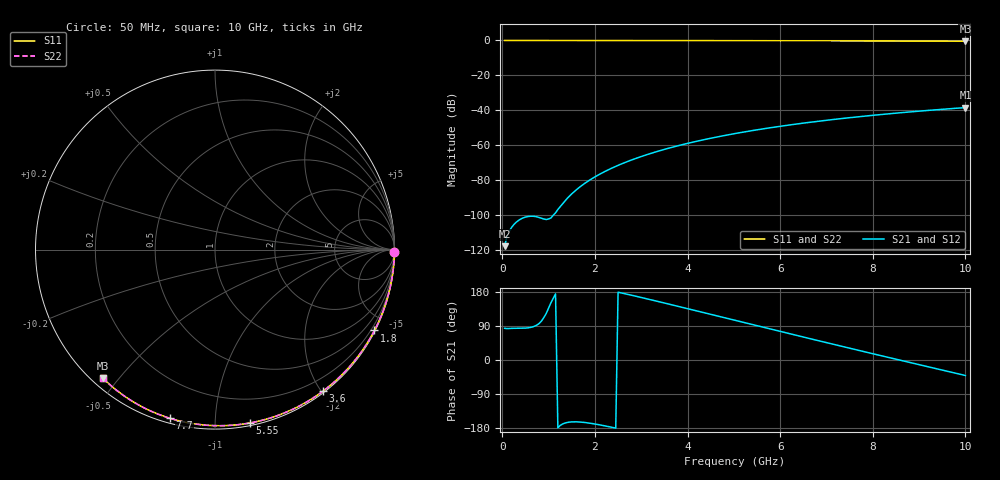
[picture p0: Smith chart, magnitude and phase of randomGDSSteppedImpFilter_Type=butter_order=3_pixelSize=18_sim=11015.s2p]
! freq	dB(S11)	phase(S11)	dB(S12)	phase(S12)
!  dB(S21)	phase(S21)	dB(S22)	phase(S22)
!S-par simulation data
#  GHz  S  DB  R 50
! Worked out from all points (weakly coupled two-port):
!   200 points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, 50 MHz to 10 GHz, reference 50 ohm
!   highest |S21| = -38.42 dB at 10 GHz (marker M1); lowest = -117.7 dB at 50 MHz (marker M2)
!   lowest |S11| = -0.4 dB at 10 GHz (marker M3), VSWR 39.17, Z = 1.54 - j22.7 ohm
!   |S11| at or under -10 dB: nowhere
!   |S22| runs from -0.4 to 0.0 dB; largest |S21 - S12| = 0
!   S11 on the Smith chart (normalised r, x): 50 MHz: open; 1.8 GHz: 0.04, -4.18; 3.6 GHz: 0.02, -2.02; 5.55 GHz: 0.02, -1.22; 7.7 GHz: 0.02, -0.77; 10 GHz: 0.03, -0.45
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0.05  -0.00 -0.8  -117.72 83.7  -117.72 83.7  -0.00 -0.8
0.9  -0.02 -13.6  -102.20 112.6  -102.20 112.6  -0.02 -13.6
1.75  -0.03 -26.2  -82.35 -164.5  -82.35 -164.5  -0.03 -26.2
1.8  -0.03 -26.9  -81.42 -165.2  -81.42 -165.2  -0.03 -26.9
1.85  -0.04 -27.6  -80.53 -166.0  -80.53 -166.0  -0.04 -27.6
1.9  -0.04 -28.3  -79.68 -166.9  -79.68 -166.9  -0.04 -28.3
2.05  -0.04 -30.5  -77.31 -170.0  -77.31 -170.0  -0.04 -30.5
2.25  -0.04 -33.4  -74.51 -174.6  -74.51 -174.6  -0.04 -33.4
2.45  -0.05 -36.3  -72.04 -179.7  -72.04 -179.7  -0.05 -36.3
2.65  -0.05 -39.2  -69.82 174.9  -69.82 174.9  -0.05 -39.2
3  -0.06 -44.2  -66.42 165.0  -66.42 165.0  -0.06 -44.2
3.4  -0.07 -49.8  -63.08 153.4  -63.08 153.4  -0.07 -49.8
3.6  -0.07 -52.6  -61.59 147.5  -61.59 147.5  -0.07 -52.6
4.3  -0.09 -62.1  -57.09 126.5  -57.09 126.5  -0.09 -62.1
5.05  -0.11 -72.1  -53.16 104.0  -53.16 104.0  -0.11 -72.1
5.55  -0.13 -78.5  -50.92 89.0  -50.92 89.0  -0.13 -78.5
6.1  -0.15 -85.5  -48.74 72.5  -48.74 72.5  -0.15 -85.5
6.7  -0.18 -92.9  -46.64 54.7  -46.64 54.7  -0.18 -92.9
7.7  -0.24 -104.9  -43.64 25.3  -43.64 25.3  -0.24 -104.9
8.35  -0.29 -112.4  -41.96 6.4  -41.96 6.4  -0.29 -112.4
9.15  -0.36 -121.6  -40.13 -16.6  -40.13 -16.6  -0.36 -121.6
10  -0.44 -131.2  -38.42 -40.9  -38.42 -40.9  -0.44 -131.2
